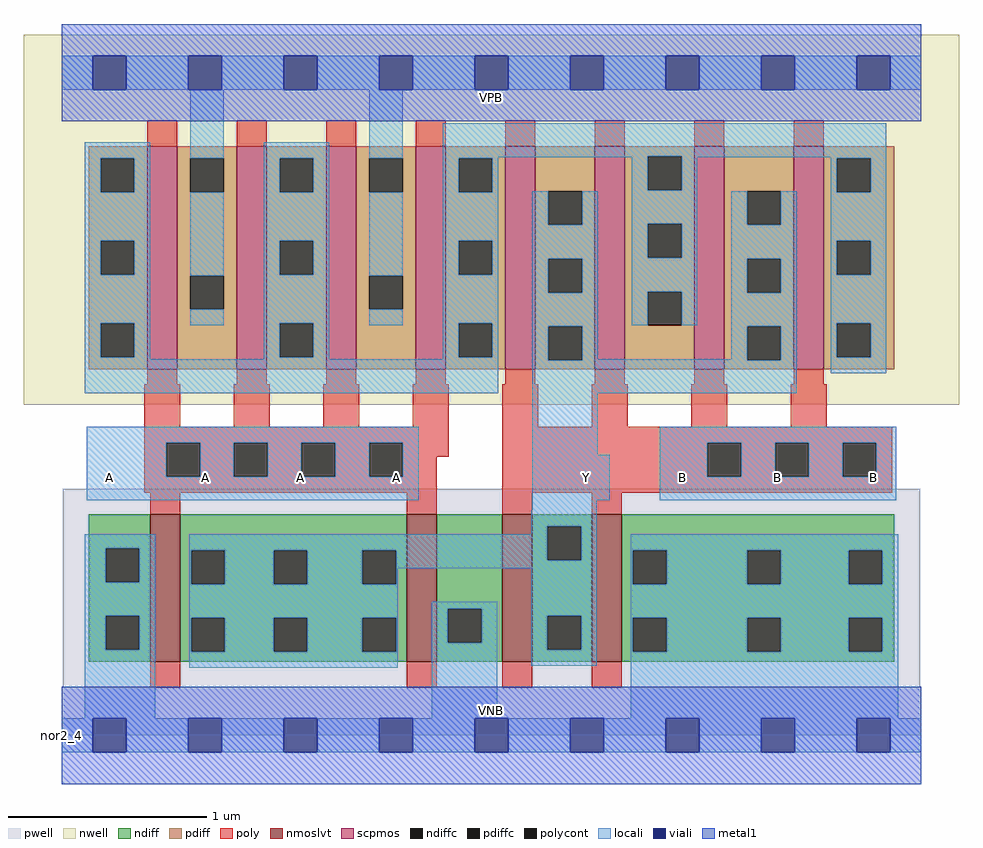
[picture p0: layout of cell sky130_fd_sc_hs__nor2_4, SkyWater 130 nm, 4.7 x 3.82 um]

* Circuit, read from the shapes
.subckt sky130_fd_sc_hs__nor2_4 A B VGND VNB VPB VPWR Y
XM1 Y A VGND VNB sky130_fd_pr__nfet_01v8_lvt w=0.74 l=0.15 m=2
XM2 Y B VGND VNB sky130_fd_pr__nfet_01v8_lvt w=0.74 l=0.15 m=2
XM3 VPWR A n1 VPB sky130_fd_pr__pfet_01v8 w=1.12 l=0.15 m=4
XM4 Y B n1 VPB sky130_fd_pr__pfet_01v8 w=1.12 l=0.15 m=4
.ends

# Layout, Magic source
magic
tech sky130A
magscale 1 2
<< nwell >>
rect -38 332 902 704
<< pwell >>
rect 1 49 863 248
rect 0 0 864 49
<< scpmos >>
rect 86 368 116 592
rect 176 368 206 592
rect 266 368 296 592
rect 356 368 386 592
rect 446 368 476 592
rect 536 368 566 592
rect 636 368 666 592
rect 736 368 766 592
<< nmoslvt >>
rect 89 74 119 222
rect 347 74 377 222
rect 443 74 473 222
rect 533 74 563 222
<< ndiff >>
rect 27 188 89 222
rect 27 154 44 188
rect 78 154 89 188
rect 27 120 89 154
rect 27 86 44 120
rect 78 86 89 120
rect 27 74 89 86
rect 119 186 347 222
rect 119 152 130 186
rect 164 152 213 186
rect 247 152 302 186
rect 336 152 347 186
rect 119 118 347 152
rect 119 84 130 118
rect 164 84 213 118
rect 247 84 302 118
rect 336 84 347 118
rect 119 74 347 84
rect 377 127 443 222
rect 377 93 388 127
rect 422 93 443 127
rect 377 74 443 93
rect 473 210 533 222
rect 473 176 488 210
rect 522 176 533 210
rect 473 120 533 176
rect 473 86 488 120
rect 522 86 533 120
rect 473 74 533 86
rect 563 186 837 222
rect 563 152 574 186
rect 608 152 689 186
rect 723 152 791 186
rect 825 152 837 186
rect 563 118 837 152
rect 563 84 574 118
rect 608 84 689 118
rect 723 84 791 118
rect 825 84 837 118
rect 563 74 837 84
<< pdiff >>
rect 27 580 86 592
rect 27 546 39 580
rect 73 546 86 580
rect 27 497 86 546
rect 27 463 39 497
rect 73 463 86 497
rect 27 414 86 463
rect 27 380 39 414
rect 73 380 86 414
rect 27 368 86 380
rect 116 580 176 592
rect 116 546 129 580
rect 163 546 176 580
rect 116 462 176 546
rect 116 428 129 462
rect 163 428 176 462
rect 116 368 176 428
rect 206 580 266 592
rect 206 546 219 580
rect 253 546 266 580
rect 206 497 266 546
rect 206 463 219 497
rect 253 463 266 497
rect 206 414 266 463
rect 206 380 219 414
rect 253 380 266 414
rect 206 368 266 380
rect 296 580 356 592
rect 296 546 309 580
rect 343 546 356 580
rect 296 462 356 546
rect 296 428 309 462
rect 343 428 356 462
rect 296 368 356 428
rect 386 580 446 592
rect 386 546 399 580
rect 433 546 446 580
rect 386 497 446 546
rect 386 463 399 497
rect 433 463 446 497
rect 386 414 446 463
rect 386 380 399 414
rect 433 380 446 414
rect 386 368 446 380
rect 476 547 536 592
rect 476 513 489 547
rect 523 513 536 547
rect 476 479 536 513
rect 476 445 489 479
rect 523 445 536 479
rect 476 411 536 445
rect 476 377 489 411
rect 523 377 536 411
rect 476 368 536 377
rect 566 582 636 592
rect 566 548 589 582
rect 623 548 636 582
rect 566 514 636 548
rect 566 480 589 514
rect 623 480 636 514
rect 566 446 636 480
rect 566 412 589 446
rect 623 412 636 446
rect 566 368 636 412
rect 666 547 736 592
rect 666 513 689 547
rect 723 513 736 547
rect 666 479 736 513
rect 666 445 689 479
rect 723 445 736 479
rect 666 411 736 445
rect 666 377 689 411
rect 723 377 736 411
rect 666 368 736 377
rect 766 580 837 592
rect 766 546 779 580
rect 813 546 837 580
rect 766 497 837 546
rect 766 463 779 497
rect 813 463 837 497
rect 766 414 837 463
rect 766 380 779 414
rect 813 380 837 414
rect 766 368 837 380
<< ndiffc >>
rect 44 154 78 188
rect 44 86 78 120
rect 130 152 164 186
rect 213 152 247 186
rect 302 152 336 186
rect 130 84 164 118
rect 213 84 247 118
rect 302 84 336 118
rect 388 93 422 127
rect 488 176 522 210
rect 488 86 522 120
rect 574 152 608 186
rect 689 152 723 186
rect 791 152 825 186
rect 574 84 608 118
rect 689 84 723 118
rect 791 84 825 118
<< pdiffc >>
rect 39 546 73 580
rect 39 463 73 497
rect 39 380 73 414
rect 129 546 163 580
rect 129 428 163 462
rect 219 546 253 580
rect 219 463 253 497
rect 219 380 253 414
rect 309 546 343 580
rect 309 428 343 462
rect 399 546 433 580
rect 399 463 433 497
rect 399 380 433 414
rect 489 513 523 547
rect 489 445 523 479
rect 489 377 523 411
rect 589 548 623 582
rect 589 480 623 514
rect 589 412 623 446
rect 689 513 723 547
rect 689 445 723 479
rect 689 377 723 411
rect 779 546 813 580
rect 779 463 813 497
rect 779 380 813 414
<< poly >>
rect 86 592 116 618
rect 176 592 206 618
rect 266 592 296 618
rect 356 592 386 618
rect 446 592 476 618
rect 536 592 566 618
rect 636 592 666 618
rect 736 592 766 618
rect 86 353 116 368
rect 176 353 206 368
rect 266 353 296 368
rect 356 353 386 368
rect 446 353 476 368
rect 536 353 566 368
rect 636 353 666 368
rect 736 353 766 368
rect 83 310 119 353
rect 173 310 209 353
rect 263 310 299 353
rect 353 310 389 353
rect 83 294 389 310
rect 83 260 105 294
rect 139 260 173 294
rect 207 260 241 294
rect 275 260 309 294
rect 343 280 389 294
rect 443 310 479 353
rect 533 310 569 353
rect 633 310 669 353
rect 733 310 769 353
rect 443 294 835 310
rect 343 260 377 280
rect 83 244 377 260
rect 89 222 119 244
rect 347 222 377 244
rect 443 260 649 294
rect 683 260 717 294
rect 751 260 785 294
rect 819 260 835 294
rect 443 244 835 260
rect 443 222 473 244
rect 533 222 563 244
rect 89 48 119 74
rect 347 48 377 74
rect 443 48 473 74
rect 533 48 563 74
<< polycont >>
rect 105 260 139 294
rect 173 260 207 294
rect 241 260 275 294
rect 309 260 343 294
rect 649 260 683 294
rect 717 260 751 294
rect 785 260 819 294
<< locali >>
rect 0 649 31 683
rect 65 649 127 683
rect 161 649 223 683
rect 257 649 319 683
rect 353 649 415 683
rect 449 649 511 683
rect 545 649 607 683
rect 641 649 703 683
rect 737 649 799 683
rect 833 649 864 683
rect 23 580 89 596
rect 23 546 39 580
rect 73 546 89 580
rect 23 497 89 546
rect 23 463 39 497
rect 73 463 89 497
rect 23 414 89 463
rect 23 380 39 414
rect 73 380 89 414
rect 129 580 163 649
rect 129 462 163 546
rect 129 412 163 428
rect 203 580 269 596
rect 203 546 219 580
rect 253 546 269 580
rect 203 497 269 546
rect 203 463 219 497
rect 253 463 269 497
rect 203 414 269 463
rect 23 378 89 380
rect 203 380 219 414
rect 253 380 269 414
rect 309 580 343 649
rect 309 462 343 546
rect 309 412 343 428
rect 383 582 829 615
rect 383 581 589 582
rect 383 580 439 581
rect 383 546 399 580
rect 433 546 439 580
rect 573 548 589 581
rect 623 581 829 582
rect 623 548 639 581
rect 383 497 439 546
rect 383 463 399 497
rect 433 463 439 497
rect 383 414 439 463
rect 203 378 269 380
rect 383 380 399 414
rect 433 380 439 414
rect 383 378 439 380
rect 23 344 439 378
rect 473 513 489 547
rect 523 513 539 547
rect 473 479 539 513
rect 473 445 489 479
rect 523 445 539 479
rect 473 411 539 445
rect 573 514 639 548
rect 773 580 829 581
rect 573 480 589 514
rect 623 480 639 514
rect 573 446 639 480
rect 573 412 589 446
rect 623 412 639 446
rect 673 513 689 547
rect 723 513 739 547
rect 673 479 739 513
rect 673 445 689 479
rect 723 445 739 479
rect 473 377 489 411
rect 523 378 539 411
rect 673 411 739 445
rect 673 378 689 411
rect 523 377 689 378
rect 723 377 739 411
rect 473 344 739 377
rect 773 546 779 580
rect 813 546 829 580
rect 773 497 829 546
rect 773 463 779 497
rect 813 463 829 497
rect 773 414 829 463
rect 773 380 779 414
rect 813 380 829 414
rect 773 364 829 380
rect 25 294 359 310
rect 25 260 105 294
rect 139 260 173 294
rect 207 260 241 294
rect 275 260 309 294
rect 343 260 359 294
rect 25 236 359 260
rect 473 282 539 344
rect 601 294 839 310
rect 473 236 551 282
rect 601 260 649 294
rect 683 260 717 294
rect 751 260 785 294
rect 819 260 839 294
rect 601 236 839 260
rect 473 226 538 236
rect 472 210 538 226
rect 472 202 488 210
rect 23 188 94 202
rect 23 154 44 188
rect 78 154 94 188
rect 23 120 94 154
rect 23 86 44 120
rect 78 86 94 120
rect 23 17 94 86
rect 128 186 488 202
rect 128 152 130 186
rect 164 152 213 186
rect 247 152 302 186
rect 336 176 488 186
rect 522 176 538 210
rect 336 168 538 176
rect 336 152 338 168
rect 128 118 338 152
rect 128 84 130 118
rect 164 84 213 118
rect 247 84 302 118
rect 336 84 338 118
rect 128 68 338 84
rect 372 127 438 134
rect 372 93 388 127
rect 422 93 438 127
rect 372 17 438 93
rect 472 120 538 168
rect 472 86 488 120
rect 522 86 538 120
rect 472 70 538 86
rect 572 186 841 202
rect 572 152 574 186
rect 608 152 689 186
rect 723 152 791 186
rect 825 152 841 186
rect 572 118 841 152
rect 572 84 574 118
rect 608 84 689 118
rect 723 84 791 118
rect 825 84 841 118
rect 572 17 841 84
rect 0 -17 31 17
rect 65 -17 127 17
rect 161 -17 223 17
rect 257 -17 319 17
rect 353 -17 415 17
rect 449 -17 511 17
rect 545 -17 607 17
rect 641 -17 703 17
rect 737 -17 799 17
rect 833 -17 864 17
<< viali >>
rect 31 649 65 683
rect 127 649 161 683
rect 223 649 257 683
rect 319 649 353 683
rect 415 649 449 683
rect 511 649 545 683
rect 607 649 641 683
rect 703 649 737 683
rect 799 649 833 683
rect 31 -17 65 17
rect 127 -17 161 17
rect 223 -17 257 17
rect 319 -17 353 17
rect 415 -17 449 17
rect 511 -17 545 17
rect 607 -17 641 17
rect 703 -17 737 17
rect 799 -17 833 17
<< metal1 >>
rect 0 683 864 715
rect 0 649 31 683
rect 65 649 127 683
rect 161 649 223 683
rect 257 649 319 683
rect 353 649 415 683
rect 449 649 511 683
rect 545 649 607 683
rect 641 649 703 683
rect 737 649 799 683
rect 833 649 864 683
rect 0 617 864 649
rect 0 17 864 49
rect 0 -17 31 17
rect 65 -17 127 17
rect 161 -17 223 17
rect 257 -17 319 17
rect 353 -17 415 17
rect 449 -17 511 17
rect 545 -17 607 17
rect 641 -17 703 17
rect 737 -17 799 17
rect 833 -17 864 17
rect 0 -49 864 -17
<< labels >>
rlabel comment s 0 0 0 0 4 nor2_4
flabel pwell s 0 0 864 49 0 FreeSans 200 0 0 0 VNB
port 4 nsew ground bidirectional
flabel nwell s 0 617 864 666 0 FreeSans 200 0 0 0 VPB
port 5 nsew power bidirectional
flabel metal1 s 0 617 864 666 0 FreeSans 340 0 0 0 VPWR
port 6 nsew power bidirectional
flabel metal1 s 0 0 864 49 0 FreeSans 340 0 0 0 VGND
port 3 nsew ground bidirectional
flabel locali s 511 242 545 276 0 FreeSans 340 0 0 0 Y
port 7 nsew signal output
flabel locali s 31 242 65 276 0 FreeSans 340 0 0 0 A
port 1 nsew signal input
flabel locali s 127 242 161 276 0 FreeSans 340 0 0 0 A
port 1 nsew signal input
flabel locali s 223 242 257 276 0 FreeSans 340 0 0 0 A
port 1 nsew signal input
flabel locali s 319 242 353 276 0 FreeSans 340 0 0 0 A
port 1 nsew signal input
flabel locali s 607 242 641 276 0 FreeSans 340 0 0 0 B
port 2 nsew signal input
flabel locali s 703 242 737 276 0 FreeSans 340 0 0 0 B
port 2 nsew signal input
flabel locali s 799 242 833 276 0 FreeSans 340 0 0 0 B
port 2 nsew signal input
<< properties >>
string LEFsite unit
string LEFclass CORE
string FIXED_BBOX 0 0 864 666
string GDS_FILE $PDKPATH/libs.ref/sky130_fd_sc_hs/gds/sky130_fd_sc_hs.gds
string LEFsymmetry X Y
string GDS_END 3279612
string GDS_START 3271456
<< end >>
